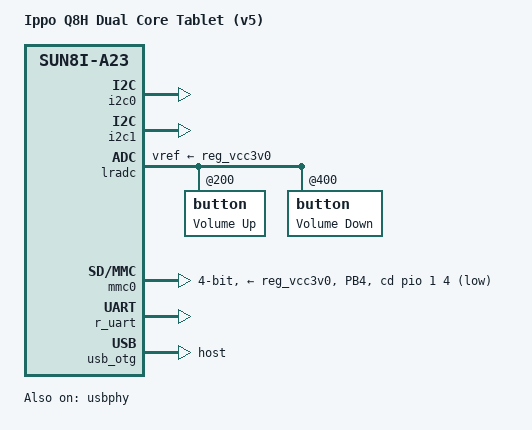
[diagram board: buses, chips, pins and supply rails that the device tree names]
/*
 * Copyright 2014 Chen-Yu Tsai
 *
 * Chen-Yu Tsai <wens@csie.org>
 *
 * This file is dual-licensed: you can use it either under the terms
 * of the GPL or the X11 license, at your option. Note that this dual
 * licensing only applies to this file, and not this project as a
 * whole.
 *
 *  a) This file is free software; you can redistribute it and/or
 *     modify it under the terms of the GNU General Public License as
 *     published by the Free Software Foundation; either version 2 of the
 *     License, or (at your option) any later version.
 *
 *     This file is distributed in the hope that it will be useful,
 *     but WITHOUT ANY WARRANTY; without even the implied warranty of
 *     MERCHANTABILITY or FITNESS FOR A PARTICULAR PURPOSE.  See the
 *     GNU General Public License for more details.
 *
 * Or, alternatively,
 *
 *  b) Permission is hereby granted, free of charge, to any person
 *     obtaining a copy of this software and associated documentation
 *     files (the "Software"), to deal in the Software without
 *     restriction, including without limitation the rights to use,
 *     copy, modify, merge, publish, distribute, sublicense, and/or
 *     sell copies of the Software, and to permit persons to whom the
 *     Software is furnished to do so, subject to the following
 *     conditions:
 *
 *     The above copyright notice and this permission notice shall be
 *     included in all copies or substantial portions of the Software.
 *
 *     THE SOFTWARE IS PROVIDED "AS IS", WITHOUT WARRANTY OF ANY KIND,
 *     EXPRESS OR IMPLIED, INCLUDING BUT NOT LIMITED TO THE WARRANTIES
 *     OF MERCHANTABILITY, FITNESS FOR A PARTICULAR PURPOSE AND
 *     NONINFRINGEMENT. IN NO EVENT SHALL THE AUTHORS OR COPYRIGHT
 *     HOLDERS BE LIABLE FOR ANY CLAIM, DAMAGES OR OTHER LIABILITY,
 *     WHETHER IN AN ACTION OF CONTRACT, TORT OR OTHERWISE, ARISING
 *     FROM, OUT OF OR IN CONNECTION WITH THE SOFTWARE OR THE USE OR
 *     OTHER DEALINGS IN THE SOFTWARE.
 */

/dts-v1/;
#include "sun8i-a23.dtsi"
#include "sunxi-common-regulators.dtsi"

#include <dt-bindings/gpio/gpio.h>
#include <dt-bindings/input/input.h>
#include <dt-bindings/pinctrl/sun4i-a10.h>

/ {
	model = "Ippo Q8H Dual Core Tablet (v5)";
	compatible = "ippo,q8h-v5", "allwinner,sun8i-a23";

	aliases {
		serial0 = &r_uart;
	};

	chosen {
		stdout-path = "serial0:115200n8";
	};
};

&i2c0 {
	pinctrl-names = "default";
	pinctrl-0 = <&i2c0_pins_a>;
	status = "okay";
};

&i2c1 {
	pinctrl-names = "default";
	pinctrl-0 = <&i2c1_pins_a>;
	status = "okay";
};

&i2c2 {
	pinctrl-names = "default";
	pinctrl-0 = <&i2c2_pins_a>;
	/* pull-ups and devices require PMIC regulator */
	status = "failed";
};

&lradc {
	vref-supply = <&reg_vcc3v0>;
	status = "okay";

	button@200 {
		label = "Volume Up";
		linux,code = <KEY_VOLUMEUP>;
		channel = <0>;
		voltage = <200000>;
	};

	button@400 {
		label = "Volume Down";
		linux,code = <KEY_VOLUMEDOWN>;
		channel = <0>;
		voltage = <400000>;
	};
};

&mmc0 {
	pinctrl-names = "default";
	pinctrl-0 = <&mmc0_pins_a>, <&mmc0_cd_pin_q8h>;
	vmmc-supply = <&reg_vcc3v0>;
	bus-width = <4>;
	cd-gpios = <&pio 1 4 GPIO_ACTIVE_HIGH>; /* PB4 */
	cd-inverted;
	status = "okay";
};

&pio {
	mmc0_cd_pin_q8h: mmc0_cd_pin@0 {
		allwinner,pins = "PB4";
		allwinner,function = "gpio_in";
		allwinner,drive = <SUN4I_PINCTRL_10_MA>;
		allwinner,pull = <SUN4I_PINCTRL_PULL_UP>;
	};
};

&r_uart {
	pinctrl-names = "default";
	pinctrl-0 = <&r_uart_pins_a>;
	status = "okay";
};

&usb_otg {
	dr_mode = "host";
	status = "okay";
};

&usbphy {
	status = "okay";
};
